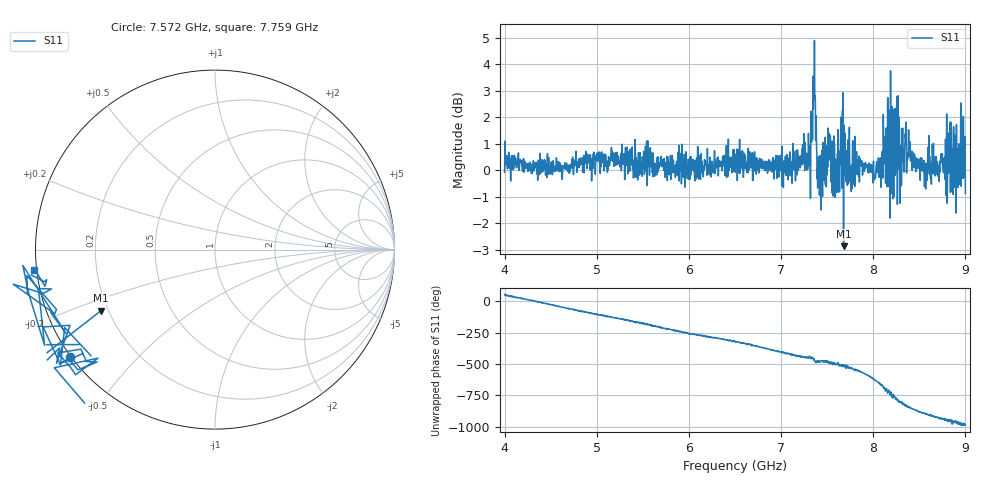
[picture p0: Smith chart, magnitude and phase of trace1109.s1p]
! Created with skrf 1.8.0 (http://scikit-rf.org).
# Hz S RI R 50.0
!freq ReS11 ImS11
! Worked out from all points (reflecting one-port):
!   1601 points, 4 GHz to 9 GHz, reference 50 ohm
!   lowest |S11| = -2.9 dB at 7.678 GHz (marker M1), VSWR 6.12, Z = 8.66 - j12.2 ohm
!   phase of S11 starts at 55 deg and turns -1041 deg over the sweep
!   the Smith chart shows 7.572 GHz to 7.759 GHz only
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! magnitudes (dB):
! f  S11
! 4 GHz  -0.1
! 4.625 GHz  -0.3
! 5.25 GHz  0.2
! 5.875 GHz  -0.2
! 6.5 GHz  0.2
! 7.125 GHz  0.5
! 7.297 GHz  1.4
! 7.325 GHz  2.2
! 7.347 GHz  3.5
! 7.356 GHz  3.0
! 7.369 GHz  2.8
! 7.412 GHz  -0.4
! 7.512 GHz  1.5
! 7.609 GHz  0.1
! 7.65 GHz  2.0
! 7.678 GHz  -2.9
! 7.75 GHz  -0.4
! 8.066 GHz  -0.3
! 8.134 GHz  -0.5
! 8.262 GHz  -1.3
! 8.312 GHz  1.6
! 8.334 GHz  0.5
! 8.375 GHz  0.7
! 8.556 GHz  -0.6
! 8.866 GHz  -0.9
! 8.919 GHz  0.1
! 8.972 GHz  0.5
! 9 GHz  -0.9
